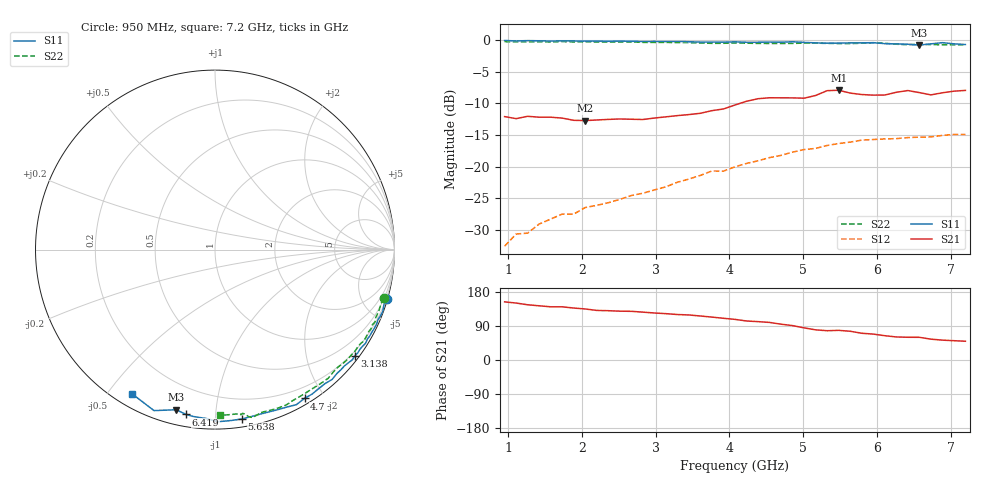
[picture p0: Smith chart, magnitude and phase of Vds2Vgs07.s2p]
!Keysight Technologies,M9375A,US54320202,A.12.55.09
!Date: Monday, July 10, 2023 14:13:46
!Correction: S11(Full 2 Port(1,2))
!S21(Full 2 Port(1,2))
!S12(Full 2 Port(1,2))
!S22(Full 2 Port(1,2))
!S2P File: Measurements: S11, S21, S12, S22:
# Hz S  RI  R 50
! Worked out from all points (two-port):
!   41 points, 950 MHz to 7.2 GHz, reference 50 ohm
!   highest |S21| = -7.90 dB at 5.481 GHz (marker M1); lowest = -12.7 dB at 2.044 GHz (marker M2)
!   |S21| within 3 dB of the highest: 3.901 GHz to end of sweep
!   lowest |S11| = -0.7 dB at 6.575 GHz (marker M3), VSWR 23.44, Z = 3.45 - j39.2 ohm
!   |S11| at or under -10 dB: nowhere
!   |S22| runs from -0.7 to -0.2 dB; largest |S21 - S12| = 0.37
!   S11 on the Smith chart (normalised r, x): 950 MHz: 0.03, -7.10; 3.138 GHz: 0.11, -2.98; 4.7 GHz: 0.07, -1.77; 5.638 GHz: 0.05, -1.17; 6.419 GHz: 0.06, -0.84; 7.2 GHz: 0.05, -0.58
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9.5e8  0.9601 -0.2758  -0.2226 0.1112  0.00408 0.023  0.9392 -0.2705
1.10625e9  0.9421 -0.3028  -0.2083 0.1188  0.00822 0.028  0.9245 -0.3028
1.2625e9  0.9347 -0.3447  -0.2068 0.1409  0.0125 0.0269  0.9156 -0.3343
1.41875e9  0.921 -0.3705  -0.1966 0.148  0.0133 0.0324  0.9034 -0.3626
1.73125e9  0.9006 -0.4152  -0.1865 0.1545  0.0186 0.0377  0.8916 -0.4032
1.8875e9  0.8876 -0.4388  -0.1704 0.1583  0.02 0.0369  0.8765 -0.4192
2.04375e9  0.8708 -0.465  -0.1626 0.1647  0.0228 0.0415  0.8692 -0.4419
3.1375e9  0.7802 -0.5904  -0.1324 0.2094  0.0476 0.0501  0.7777 -0.5693
3.7625e9  0.7016 -0.6693  -0.1093 0.255  0.0691 0.0611  0.6843 -0.6555
3.91875e9  0.6791 -0.6904  -0.0983 0.2687  0.0705 0.0591  0.6586 -0.6824
4.075e9  0.6526 -0.7235  -0.091 0.2938  0.0794 0.0601  0.6305 -0.7171
4.3875e9  0.5745 -0.7772  -0.0673 0.3382  0.0936 0.0599  0.5502 -0.7701
4.7e9  0.4987 -0.829  -0.0274 0.3494  0.1086 0.057  0.4734 -0.8179
5.16875e9  0.3328 -0.8963  0.0661 0.3599  0.1308 0.0478  0.3501 -0.8833
5.48125e9  0.2038 -0.9295  0.0821 0.3943  0.1486 0.0329  0.2832 -0.9007
5.6375e9  0.15 -0.9437  0.0935 0.3706  0.1537 0.0288  0.2541 -0.9082
5.95e9  0.0178 -0.9587  0.1357 0.3422  0.1633 0.0133  0.2093 -0.9357
6.2625e9  -0.1199 -0.9301  0.1891 0.3385  0.1664 -0.00269  0.167 -0.9175
6.41875e9  -0.1613 -0.9182  0.2003 0.3469  0.1693 -0.0109  0.1541 -0.9119
6.575e9  -0.2164 -0.8923  0.1934 0.3338  0.1698 -0.0207  0.1444 -0.9205
6.8875e9  -0.3398 -0.897  0.2343 0.3045  0.1732 -0.0343  0.1122 -0.9163
7.2e9  -0.4599 -0.8054  0.2608 0.3052  0.1717 -0.0525  0.0253 -0.9232
